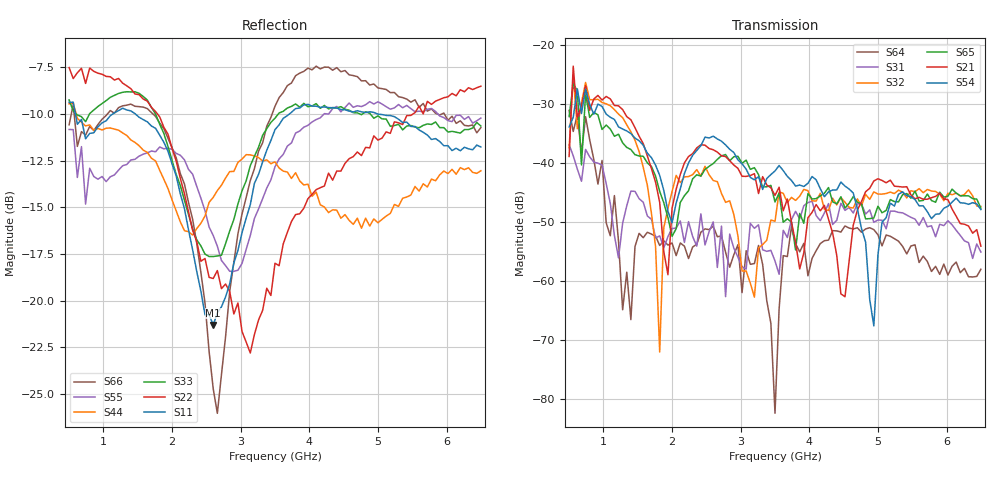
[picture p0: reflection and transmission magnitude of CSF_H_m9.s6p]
!Keysight Technologies,M9804A,MY58100912,A.14.10.03
!Date: Thursday, April 27, 2023 10:28:33
!Correction: S11(C  6-Port  )
!S12(C  6-Port  )
!S13(C  6-Port  )
!S14(C  6-Port  )
!S15(C  6-Port  )
!S16(C  6-Port  )
!S21(C  6-Port  )
!S22(C  6-Port  )
!S23(C  6-Port  )
!S24(C  6-Port  )
!S25(C  6-Port  )
!S26(C  6-Port  )
!S31(C  6-Port  )
!S32(C  6-Port  )
!S33(C  6-Port  )
!S34(C  6-Port  )
!S35(C  6-Port  )
!S36(C  6-Port  )
!S41(C  6-Port  )
!S42(C  6-Port  )
!S43(C  6-Port  )
!S44(C  6-Port  )
!S45(C  6-Port  )
!S46(C  6-Port  )
!S51(C  6-Port  )
!S52(C  6-Port  )
!S53(C  6-Port  )
!S54(C  6-Port  )
!S55(C  6-Port  )
!S56(C  6-Port  )
!S61(C  6-Port  )
!S62(C  6-Port  )
!S63(C  6-Port  )
!S64(C  6-Port  )
!S65(C  6-Port  )
!S66(C  6-Port  )
!S6P File: Measurement: :
# Hz S  RI  R 50
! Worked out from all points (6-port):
!   101 points, 500 MHz to 6.5 GHz, reference 50 ohm
!   strongest paths, dB at 500 MHz, 2 GHz, 3.5 GHz, 5 GHz, 6.5 GHz:
!     S54: -33.9, -50.2, -41.4, -55.6, -47.9
!     S21: -38.9, -47.7, -45.5, -42.7, -54.1
!     S65: -32.2, -52.5, -46.6, -47.4, -47.7
!     S32: -37.4, -44.9, -49.9, -45.3, -47.4
!     S31: -36.9, -51.2, -56.7, -49.7, -55.1
!     S64: -31.1, -53.6, -82.5, -52.2, -58.1
!   lowest |S11| = -21.3 dB at 2.6 GHz (marker M1), VSWR 1.19, Z = 42.4 + j2.3 ohm
!   |S11| at or under -10 dB: 592.2 MHz to 1.135 GHz (543.1 MHz wide, 62.9 % of centre); 1.466 GHz to 3.709 GHz (2.242 GHz wide, 86.7 % of centre); 4.996 GHz to end of sweep
